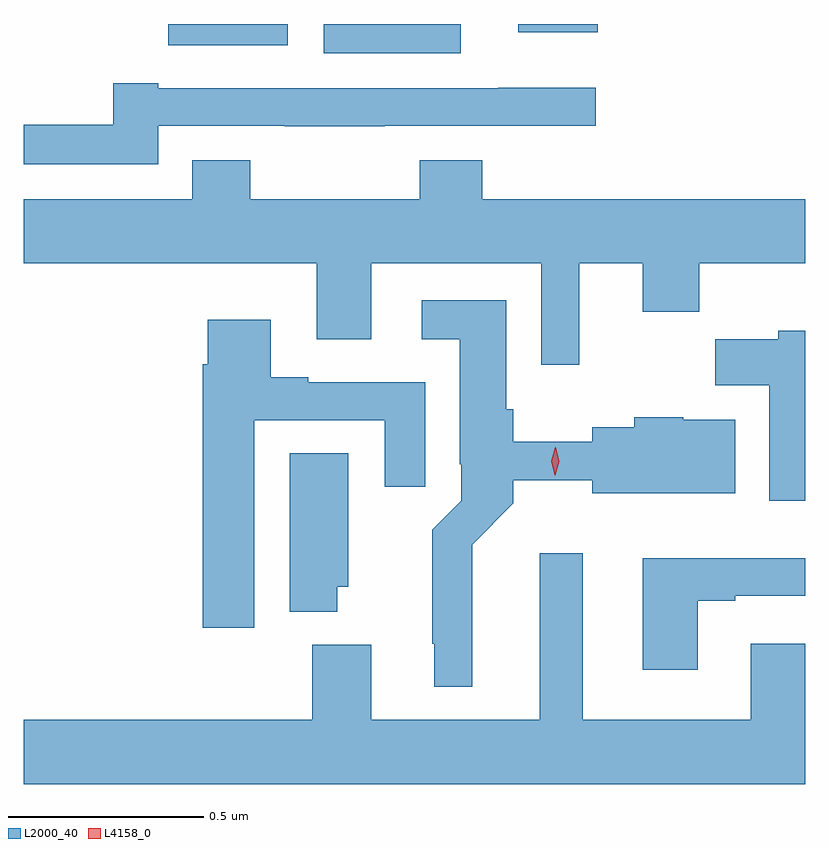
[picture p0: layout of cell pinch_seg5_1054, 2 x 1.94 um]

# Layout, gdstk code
import gdstk
lib = gdstk.Library(unit=1e-6, precision=1e-09)
def R(c, l, rs):  # rectangles x0, y0, x1, y1
    for r in rs: c.add(gdstk.rectangle(r[:2], r[2:], *l))
def P(c, l, *ps):  # polygons
    for p in ps: c.add(gdstk.Polygon(p, *l))
L2000_40 = (2000, 40)
L4158_0 = (4158, 0)

pinch_seg5_1054 = lib.new_cell('pinch_seg5_1054')
R(pinch_seg5_1054, L2000_40, [(748.199,854.633,748.549,854.708), (747.801,854.654,748.107,854.708), (748.697,854.687,748.9,854.708)])
P(pinch_seg5_1054, L2000_40, [(747.775,854.448),(748.099,854.448),(748.099,854.447),(748.355,854.447),(748.355,854.448),(748.894,854.448),(748.894,854.545),(748.645,854.545),(748.645,854.544),(747.775,854.544),(747.775,854.557),(747.661,854.557),(747.661,854.45),(747.431,854.45),(747.431,854.349),(747.775,854.349)],
  [(748.755,853.836),(748.852,853.836),(748.852,854.096),(749.015,854.096),(749.015,853.972),(749.159,853.972),(749.159,854.096),(749.431,854.096),(749.431,854.26),(748.604,854.26),(748.604,854.359),(748.444,854.359),(748.444,854.26),(748.011,854.26),(748.011,854.359),(747.863,854.359),(747.863,854.26),(747.431,854.26),(747.431,854.096),(748.181,854.096),(748.181,853.902),(748.321,853.902),(748.321,854.096),(748.755,854.096)],
  [(748.579,853.376),(748.684,853.482),(748.684,853.541),(748.886,853.541),(748.886,853.508),(749.251,853.508),(749.251,853.696),(749.118,853.696),(749.118,853.702),(748.993,853.702),(748.993,853.677),(748.886,853.677),(748.886,853.64),(748.684,853.64),(748.684,853.722),(748.666,853.722),(748.666,854.002),(748.449,854.002),(748.449,853.901),(748.547,853.901),(748.547,853.582),(748.551,853.582),(748.551,853.488),(748.477,853.414),(748.477,853.123),(748.481,853.123),(748.481,853.013),(748.579,853.013)],
  [(748.021,853.695),(748.355,853.695),(748.355,853.524),(748.459,853.524),(748.459,853.791),(748.159,853.791),(748.159,853.804),(748.063,853.804),(748.063,853.951),(747.902,853.951),(747.902,853.838),(747.89,853.838),(747.89,853.164),(748.021,853.164)],
  [(749.431,853.924),(749.361,853.924),(749.361,853.902),(749.2,853.902),(749.2,853.784),(749.339,853.784),(749.339,853.488),(749.431,853.488)],
  [(748.234,853.269),(748.261,853.269),(748.261,853.61),(748.112,853.61),(748.112,853.205),(748.234,853.205)],
  [(749.431,853.123),(749.291,853.123),(749.291,852.928),(748.861,852.928),(748.861,853.354),(748.751,853.354),(748.751,852.928),(748.321,852.928),(748.321,853.12),(748.169,853.12),(748.169,852.928),(747.431,852.928),(747.431,852.764),(749.431,852.764)],
  [(749.155,853.233),(749.251,853.233),(749.251,853.245),(749.431,853.245),(749.431,853.342),(749.015,853.342),(749.015,853.056),(749.155,853.056)])
P(pinch_seg5_1054, L4158_0, [(748.79,853.554),(748.781,853.59),(748.791,853.626),(748.792,853.626),(748.792,853.626),(748.801,853.59),(748.791,853.554),(748.791,853.554)])

lib.write_gds('pinch_seg5_1054.gds')
